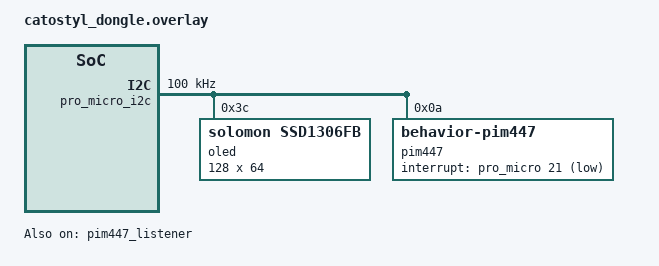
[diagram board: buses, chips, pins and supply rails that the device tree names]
#include "catostyl.dtsi"

/ {
    chosen {
        zephyr,display = &oled;
    };
};

&kscan0 {
    compatible = "zmk,kscan-mock";
    columns = <0>;
    rows = <0>;
    events = <0>;
};

&pro_micro_i2c {
    #address-cells = <1>;
    #size-cells = <0>;

    status = "okay";
    clock-frequency = <I2C_BITRATE_STANDARD>;
    // I2C_BITRATE_STANDARD   100000
    // I2C_BITRATE_FAST   400000
    // I2C_BITRATE_FAST_PLUS   1000000
    // I2C_BITRATE_HIGH   3400000
    // I2C_BITRATE_ULTRA   5000000

    oled: ssd1306@3c {
        compatible = "solomon,ssd1306fb";
        status = "okay";
        reg = <0x3c>;
        width = <128>;
        height = <64>;
        segment-offset = <0>;
        page-offset = <0>;
        display-offset = <0>;
        multiplex-ratio = <63>;
        segment-remap;
        com-invdir;
        com-sequential;
        inversion-on;
        prechargep = <0x22>;
    };

    pim447: pim447@a {
        compatible = "zmk,behavior-pim447";
        #binding-cells = <1>;
        status = "okay";
        reg = <0x0a>;
        interrupt-gpios = <&pro_micro 21 (GPIO_ACTIVE_LOW | GPIO_PULL_UP)>;
    };
};

&pim447_listener {
    status = "okay";
    device = <&pim447>;
};
